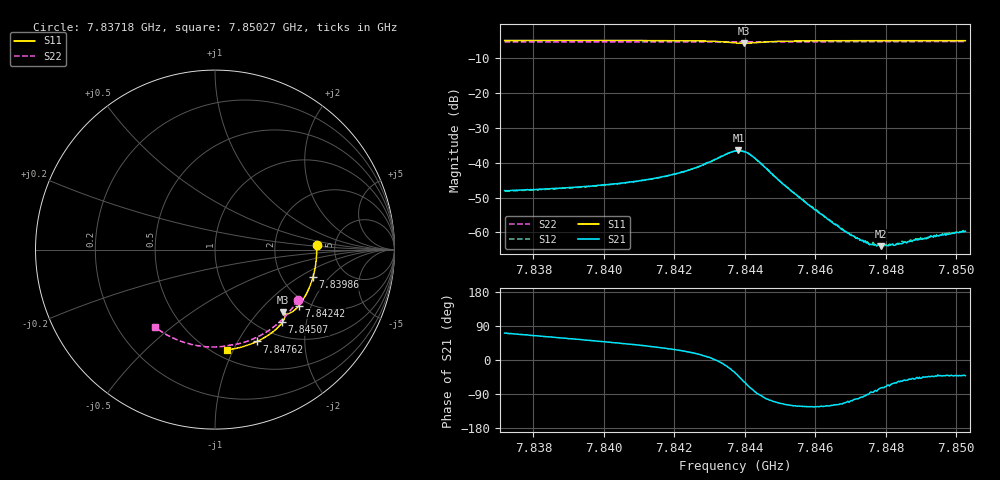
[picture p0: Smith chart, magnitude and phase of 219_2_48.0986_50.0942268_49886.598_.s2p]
#  HZ  S  RI  R  50.00
! Rohde & Schwarz Vector Network Analyzer
! Rohde-Schwarz,ZNB20-2Port,1311601062101988,3.16
! Created: UTC 12/23/2023, 3:56:34 AM
! freq[Hz]  re:S11  im:S11  re:S21  im:S21  re:S12  im:S12  re:S22  im:S22
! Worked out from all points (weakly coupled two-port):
!   401 points, 7.83718 GHz to 7.85027 GHz, reference 50 ohm
!   highest |S21| = -36.48 dB at 7.84382 GHz (marker M1); lowest = -63.9 dB at 7.84788 GHz (marker M2)
!   lowest |S11| = -5.8 dB at 7.84399 GHz (marker M3), VSWR 3.13, Z = 72.8 - j68.9 ohm
!   |S11| at or under -10 dB: nowhere
!   |S22| runs from -5.4 to -5.3 dB; largest |S21 - S12| = 0.00035
!   S11 on the Smith chart (normalised r, x): 7.83718 GHz: 3.59, +0.25; 7.83986 GHz: 2.95, -1.33; 7.84242 GHz: 1.80, -1.64; 7.84507 GHz: 1.25, -1.46; 7.84762 GHz: 0.80, -1.21; 7.85027 GHz: 0.58, -0.94
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7.837183e9  0.5658 0.0238  0.00129 0.00376  0.00131 0.00368  0.4607 -0.2811
7.839374e9  0.5537 -0.1214  0.00268 0.00363  0.00265 0.00358  0.3637 -0.3996
7.839865e9  0.5458 -0.1534  0.00308 0.00359  0.00306 0.00355  0.3378 -0.422
7.840912e9  0.5219 -0.2202  0.00414 0.00349  0.00412 0.00346  0.2777 -0.4644
7.841566e9  0.5017 -0.2608  0.00514 0.00333  0.00509 0.00335  0.2375 -0.4862
7.842416e9  0.4676 -0.312  0.00731 0.00281  0.0073 0.00287  0.1824 -0.5096
7.843234e9  0.4189 -0.3532  0.0116 -0.00044  0.0115 -0.000504  0.1271 -0.5254
7.843725e9  0.3842 -0.355  0.0123 -0.00817  0.0121 -0.00821  0.0941 -0.5308
7.843823e9  0.381 -0.3519  0.011 -0.0102  0.011 -0.01  0.0879 -0.5317
7.843986e9  0.3808 -0.3476  0.00764 -0.0122  0.00783 -0.0122  0.0775 -0.5334
7.844281e9  0.3886 -0.3536  0.00136 -0.0116  0.0015 -0.0116  0.0586 -0.537
7.845066e9  0.3749 -0.4054  -0.00217 -0.00458  -0.00216 -0.0046  0.00386 -0.5425
7.845916e9  0.3328 -0.4503  -0.00124 -0.00191  -0.00129 -0.00194  -0.056 -0.5406
7.846963e9  0.2732 -0.4914  -0.000361 -0.000903  -0.000356 -0.000884  -0.1286 -0.5291
7.847323e9  0.252 -0.5033  -0.000106 -0.000762  -0.000121 -0.000751  -0.1531 -0.5227
7.847617e9  0.2341 -0.5119  5.51e-05 -0.000673  5.41e-05 -0.00069  -0.173 -0.5166
7.847879e9  0.2179 -0.5191  0.000183 -0.000608  0.000186 -0.00061  -0.1904 -0.5106
7.848108e9  0.2037 -0.5248  0.000241 -0.000611  0.000275 -0.000623  -0.2053 -0.5047
7.848304e9  0.1912 -0.5294  0.000335 -0.000593  0.000329 -0.000586  -0.2181 -0.4996
7.848467e9  0.181 -0.533  0.000382 -0.000574  0.000424 -0.000619  -0.2284 -0.4949
7.849318e9  0.1264 -0.5485  0.000636 -0.000587  0.000651 -0.000596  -0.2814 -0.4675
7.850266e9  0.0642 -0.5587  0.00078 -0.000689  0.00078 -0.000691  -0.3366 -0.4302
